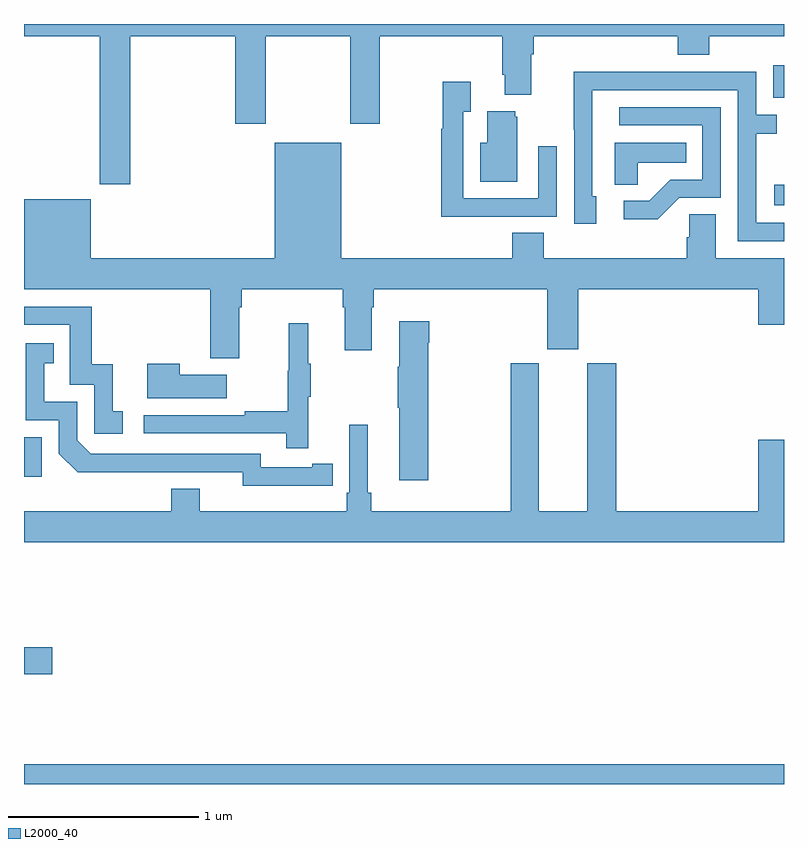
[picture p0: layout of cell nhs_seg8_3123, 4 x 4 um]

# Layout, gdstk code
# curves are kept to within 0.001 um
import gdstk
lib = gdstk.Library(unit=1e-6, precision=1e-09)
def R(c, l, rs):  # rectangles x0, y0, x1, y1
    for r in rs: c.add(gdstk.rectangle(r[:2], r[2:], *l))
def P(c, l, *ps):  # polygons
    for p in ps: c.add(gdstk.Polygon(p, *l))
L2000_40 = (2000, 40)

nhs_seg8_3123 = lib.new_cell('nhs_seg8_3123')
R(nhs_seg8_3123, L2000_40, [(305,1109.9,309,1110.004), (305,1110.478,305.149,1110.62), (305,1111.518,305.094,1111.725), (308.949,1112.945,309,1113.055), (308.943,1113.513,309,1113.682)])
P(nhs_seg8_3123, L2000_40, [(305.558,1113.836),(306.113,1113.836),(306.113,1113.375),(306.273,1113.375),(306.273,1113.836),(306.718,1113.836),(306.718,1113.375),(306.873,1113.375),(306.873,1113.836),(307.517,1113.836),(307.517,1113.634),(307.529,1113.634),(307.529,1113.527),(307.669,1113.527),(307.669,1113.74),(307.682,1113.74),(307.682,1113.836),(308.441,1113.836),(308.441,1113.737),(308.606,1113.737),(308.606,1113.836),(309,1113.836),(309,1113.9),(305,1113.9),(305,1113.836),(305.398,1113.836),(305.398,1113.057),(305.558,1113.057)],
  [(309,1112.853),(308.853,1112.853),(308.853,1113.322),(308.963,1113.322),(308.963,1113.423),(308.853,1113.423),(308.853,1113.648),(308.357,1113.648),(308.357,1113.65),(307.894,1113.65),(307.894,1113.343),(307.896,1113.343),(307.896,1112.85),(308.011,1112.85),(308.011,1112.994),(307.992,1112.994),(307.992,1113.552),(308.757,1113.552),(308.757,1112.757),(309,1112.757)],
  [(307.487,1112.886),(307.803,1112.886),(307.803,1113.256),(307.707,1113.256),(307.707,1112.982),(307.311,1112.982),(307.311,1113.439),(307.351,1113.439),(307.351,1113.595),(307.203,1113.595),(307.203,1113.35),(307.195,1113.35),(307.195,1112.885),(307.487,1112.885)],
  [(308.448,1112.985),(308.667,1112.985),(308.667,1113.462),(308.133,1113.462),(308.133,1113.366),(308.571,1113.366),(308.571,1113.081),(308.402,1113.081),(308.291,1112.97),(308.157,1112.97),(308.157,1112.873),(308.335,1112.873)],
  [(307.597,1113.411),(307.586,1113.411),(307.586,1113.442),(307.439,1113.442),(307.439,1113.274),(307.4,1113.274),(307.4,1113.071),(307.597,1113.071)],
  [(306.677,1112.408),(306.689,1112.408),(306.689,1112.184),(306.829,1112.184),(306.829,1112.408),(306.842,1112.408),(306.842,1112.504),(307.754,1112.504),(307.754,1112.187),(307.918,1112.187),(307.918,1112.504),(308.864,1112.504),(308.864,1112.316),(309,1112.316),(309,1112.668),(308.641,1112.668),(308.641,1112.9),(308.502,1112.9),(308.502,1112.777),(308.489,1112.777),(308.489,1112.668),(307.736,1112.668),(307.736,1112.801),(307.571,1112.801),(307.571,1112.668),(306.67,1112.668),(306.67,1113.274),(306.32,1113.274),(306.32,1112.668),(305.35,1112.668),(305.35,1112.977),(305,1112.977),(305,1112.504),(305.981,1112.504),(305.981,1112.142),(306.133,1112.142),(306.133,1112.408),(306.146,1112.408),(306.146,1112.504),(306.677,1112.504)],
  [(308.229,1113.17),(308.486,1113.17),(308.486,1113.274),(308.108,1113.274),(308.108,1113.055),(308.229,1113.055)],
  [(305.521,1111.863),(305.468,1111.863),(305.468,1112.11),(305.357,1112.11),(305.357,1112.412),(305,1112.412),(305,1112.316),(305.241,1112.316),(305.241,1112.001),(305.37,1112.001),(305.37,1111.743),(305.521,1111.743)],
  [(307.128,1112.222),(307.133,1112.222),(307.133,1112.335),(306.974,1112.335),(306.974,1112.096),(306.967,1112.096),(306.967,1111.879),(306.974,1111.879),(306.974,1111.5),(307.128,1111.5)],
  [(306.497,1111.939),(306.508,1111.939),(306.508,1112.113),(306.497,1112.113),(306.497,1112.326),(306.394,1112.326),(306.394,1112.076),(306.387,1112.076),(306.387,1111.862),(306.163,1111.862),(306.163,1111.842),(305.631,1111.842),(305.631,1111.746),(306.379,1111.746),(306.379,1111.668),(306.497,1111.668)],
  [(306.518,1111.47),(306.626,1111.47),(306.626,1111.586),(306.518,1111.586),(306.518,1111.566),(306.246,1111.566),(306.246,1111.638),(305.352,1111.638),(305.28,1111.71),(305.28,1111.911),(305.107,1111.911),(305.107,1112.115),(305.156,1112.115),(305.156,1112.221),(305.01,1112.221),(305.01,1111.815),(305.184,1111.815),(305.184,1111.638),(305.282,1111.541),(306.15,1111.542),(306.15,1111.469)],
  [(309,1111.711),(308.864,1111.711),(308.864,1111.336),(308.117,1111.336),(308.117,1112.115),(307.964,1112.115),(307.964,1111.336),(307.708,1111.336),(307.708,1112.115),(307.561,1112.115),(307.561,1111.336),(306.827,1111.336),(306.827,1111.432),(306.808,1111.432),(306.808,1111.792),(306.711,1111.792),(306.711,1111.432),(306.698,1111.432),(306.698,1111.336),(305.926,1111.336),(305.926,1111.453),(305.774,1111.453),(305.774,1111.336),(305,1111.336),(305,1111.172),(309,1111.172)],
  [(306.067,1112.053),(305.819,1112.053),(305.819,1112.113),(305.648,1112.113),(305.648,1111.931),(306.067,1111.931)])

lib.write_gds('nhs_seg8_3123.gds')
